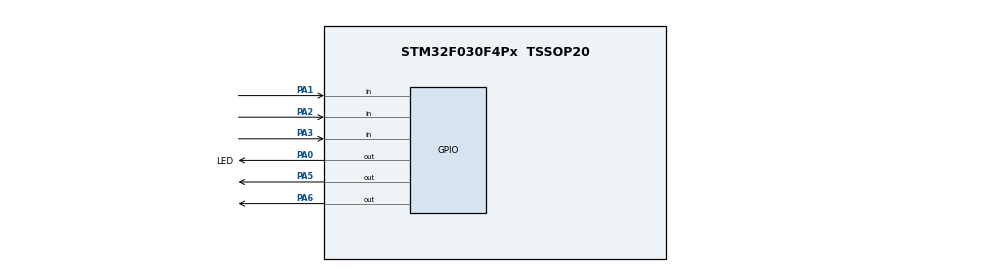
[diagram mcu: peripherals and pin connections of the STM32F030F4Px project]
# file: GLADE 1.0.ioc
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Mcu.Family=STM32F0
Mcu.Name=STM32F030F4Px
Mcu.Package=TSSOP20
NVIC.RTC_IRQn=true\:0\:0\:false\:false\:true\:true
PA0.GPIO_Label=LED
PA0.Signal=GPIO_Output
PA1.GPIO_PuPd=GPIO_NOPULL
PA1.Signal=GPIO_Input
PA13.Mode=Serial_Wire
PA13.Signal=SYS_SWDIO
PA14.Mode=Serial_Wire
PA14.Signal=SYS_SWCLK
PA2.GPIO_PuPd=GPIO_NOPULL
PA2.Signal=GPIO_Input
PA3.GPIO_PuPd=GPIO_NOPULL
PA3.Signal=GPIO_Input
PA5.GPIO_ModeDefaultOutputPP=GPIO_MODE_OUTPUT_OD
PA5.GPIO_PuPd=GPIO_PULLUP
PA5.PinState=GPIO_PIN_SET
PA5.Signal=GPIO_Output
PA6.GPIO_ModeDefaultOutputPP=GPIO_MODE_OUTPUT_OD
PA6.GPIO_PuPd=GPIO_PULLUP
PA6.PinState=GPIO_PIN_SET
PA6.Signal=GPIO_Output
ProjectManager.HeapSize=0x200
ProjectManager.StackSize=0x400
ProjectManager.TargetToolchain=MDK-ARM V5
RCC.VDD_VALUE=2.4
RTC.Alarm=RTC_ALARM_A
VP_RTC_VS_RTC_Activate.Mode=RTC_Enabled
VP_RTC_VS_RTC_Alarm_A_Intern.Mode=Alarm A
VP_RTC_VS_RTC_Calendar.Mode=RTC_Calendar
board=custom

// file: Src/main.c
/* USER CODE BEGIN Header */
/**
  ******************************************************************************
  * @file           : main.c
  * @brief          : Main program body
  ******************************************************************************
  ** This notice applies to any and all portions of this file
  * that are not between comment pairs USER CODE BEGIN and
  * USER CODE END. Other portions of this file, whether
  * inserted by the user or by software development tools
  * are owned by their respective copyright owners.
  *
  * COPYRIGHT(c) 2019 STMicroelectronics
  *
  * Redistribution and use in source and binary forms, with or without modification,
  * are permitted provided that the following conditions are met:
  *   1. Redistributions of source code must retain the above copyright notice,
  *      this list of conditions and the following disclaimer.
  *   2. Redistributions in binary form must reproduce the above copyright notice,
  *      this list of conditions and the following disclaimer in the documentation
  *      and/or other materials provided with the distribution.
  *   3. Neither the name of STMicroelectronics nor the names of its contributors
  *      may be used to endorse or promote products derived from this software
  *      without specific prior written permission.
  *
  * THIS SOFTWARE IS PROVIDED BY THE COPYRIGHT HOLDERS AND CONTRIBUTORS "AS IS"
  * AND ANY EXPRESS OR IMPLIED WARRANTIES, INCLUDING, BUT NOT LIMITED TO, THE
  * IMPLIED WARRANTIES OF MERCHANTABILITY AND FITNESS FOR A PARTICULAR PURPOSE ARE
  * DISCLAIMED. IN NO EVENT SHALL THE COPYRIGHT HOLDER OR CONTRIBUTORS BE LIABLE
  * FOR ANY DIRECT, INDIRECT, INCIDENTAL, SPECIAL, EXEMPLARY, OR CONSEQUENTIAL
  * DAMAGES (INCLUDING, BUT NOT LIMITED TO, PROCUREMENT OF SUBSTITUTE GOODS OR
  * SERVICES; LOSS OF USE, DATA, OR PROFITS; OR BUSINESS INTERRUPTION) HOWEVER
  * CAUSED AND ON ANY THEORY OF LIABILITY, WHETHER IN CONTRACT, STRICT LIABILITY,
  * OR TORT (INCLUDING NEGLIGENCE OR OTHERWISE) ARISING IN ANY WAY OUT OF THE USE
  * OF THIS SOFTWARE, EVEN IF ADVISED OF THE POSSIBILITY OF SUCH DAMAGE.
  *
  ******************************************************************************
  */
/* USER CODE END Header */

#include "main.h"

RTC_HandleTypeDef hrtc;

/* USER CODE BEGIN PV */
unsigned int wakeUpCounter = 1;
unsigned int wakeUp = 0;
unsigned char next_second = 0;
/* USER CODE END PV */

void SystemClock_Config(void);
static void MX_GPIO_Init(void);
static void MX_RTC_Init(void);

/* USER CODE BEGIN 0 */
void HAL_RTC_AlarmAEventCallback(RTC_HandleTypeDef *hrtc)
{
	  wakeUpCounter++;
}
/* USER CODE END 0 */

int main(void)
{

  /* MCU Configuration--------------------------------------------------------*/

  /* Reset of all peripherals, Initializes the Flash interface and the Systick. */
  HAL_Init();

  /* Configure the system clock */
  SystemClock_Config();

  /* Initialize all configured peripherals */
  MX_GPIO_Init();
  MX_RTC_Init();
  /* USER CODE BEGIN 2 */
	__HAL_RTC_ALARM_ENABLE_IT(&hrtc, RTC_IT_ALRA);

	//-------Download to MCU in SLEEP times----------
	//-----------------------------------------------
	HAL_GPIO_WritePin(GPIOA, LED_Pin, GPIO_PIN_SET);
	HAL_Delay(5000);
	HAL_GPIO_WritePin(GPIOA, LED_Pin, GPIO_PIN_RESET);
	//-------------------------------------------------
  /* USER CODE END 2 */

  /* Infinite loop */
  /* USER CODE BEGIN WHILE */
  while (1)
  {
		if(wakeUpCounter>=1)
		{
			HAL_GPIO_WritePin(GPIOA, GPIO_PIN_5, GPIO_PIN_RESET); //On 1-2 (+ -)U
			HAL_GPIO_WritePin(GPIOA, LED_Pin, GPIO_PIN_SET);
			HAL_Delay(600);
			HAL_GPIO_WritePin(GPIOA, GPIO_PIN_5, GPIO_PIN_SET);		//Off
			HAL_GPIO_WritePin(GPIOA, GPIO_PIN_6, GPIO_PIN_SET); 	//Off
			HAL_Delay(50);
			HAL_GPIO_WritePin(GPIOA, GPIO_PIN_6, GPIO_PIN_RESET); //On 2-1 (- +)U
			HAL_Delay(230);
			HAL_GPIO_WritePin(GPIOA, GPIO_PIN_5, GPIO_PIN_SET);		//Off
			HAL_GPIO_WritePin(GPIOA, GPIO_PIN_6, GPIO_PIN_SET);		//Off
			HAL_Delay(5);
			HAL_GPIO_WritePin(GPIOA, LED_Pin, GPIO_PIN_RESET);

			wakeUp++;
			wakeUpCounter=0;
			MX_RTC_Init();

			__HAL_PWR_CLEAR_FLAG(PWR_FLAG_WU);
			HAL_PWR_EnterSTANDBYMode();        //Sleep

		}

    /* USER CODE END WHILE */

  }
}

void SystemClock_Config(void)
{
  RCC_OscInitTypeDef RCC_OscInitStruct = {0};
  RCC_ClkInitTypeDef RCC_ClkInitStruct = {0};
  RCC_PeriphCLKInitTypeDef PeriphClkInit = {0};

  /**Initializes the CPU, AHB and APB busses clocks
  */
  RCC_OscInitStruct.OscillatorType = RCC_OSCILLATORTYPE_HSI|RCC_OSCILLATORTYPE_LSI;
  RCC_OscInitStruct.HSIState = RCC_HSI_ON;
  RCC_OscInitStruct.HSICalibrationValue = RCC_HSICALIBRATION_DEFAULT;
  RCC_OscInitStruct.LSIState = RCC_LSI_ON;
  RCC_OscInitStruct.PLL.PLLState = RCC_PLL_NONE;
  if (HAL_RCC_OscConfig(&RCC_OscInitStruct) != HAL_OK)
  {
    Error_Handler();
  }
  /**Initializes the CPU, AHB and APB busses clocks
  */
  RCC_ClkInitStruct.ClockType = RCC_CLOCKTYPE_HCLK|RCC_CLOCKTYPE_SYSCLK
                              |RCC_CLOCKTYPE_PCLK1;
  RCC_ClkInitStruct.SYSCLKSource = RCC_SYSCLKSOURCE_HSI;
  RCC_ClkInitStruct.AHBCLKDivider = RCC_SYSCLK_DIV1;
  RCC_ClkInitStruct.APB1CLKDivider = RCC_HCLK_DIV1;

  if (HAL_RCC_ClockConfig(&RCC_ClkInitStruct, FLASH_LATENCY_0) != HAL_OK)
  {
    Error_Handler();
  }
  PeriphClkInit.PeriphClockSelection = RCC_PERIPHCLK_RTC;
  PeriphClkInit.RTCClockSelection = RCC_RTCCLKSOURCE_LSI;
  if (HAL_RCCEx_PeriphCLKConfig(&PeriphClkInit) != HAL_OK)
  {
    Error_Handler();
  }
}

static void MX_RTC_Init(void)
{

  RTC_TimeTypeDef sTime = {0};
  RTC_DateTypeDef sDate = {0};
  RTC_AlarmTypeDef sAlarm = {0};

  /**Initialize RTC Only
  */
  hrtc.Instance = RTC;
  hrtc.Init.HourFormat = RTC_HOURFORMAT_24;
  hrtc.Init.AsynchPrediv = 127;
  hrtc.Init.SynchPrediv = 255;
  hrtc.Init.OutPut = RTC_OUTPUT_DISABLE;
  hrtc.Init.OutPutPolarity = RTC_OUTPUT_POLARITY_HIGH;
  hrtc.Init.OutPutType = RTC_OUTPUT_TYPE_OPENDRAIN;
  if (HAL_RTC_Init(&hrtc) != HAL_OK)
  {
    Error_Handler();
  }

  /**Initialize RTC and set the Time and Date
  */
  sTime.Hours = 0x0;
  sTime.Minutes = 0x0;
  sTime.Seconds = 0x0;
  sTime.DayLightSaving = RTC_DAYLIGHTSAVING_NONE;
  sTime.StoreOperation = RTC_STOREOPERATION_RESET;
  if (HAL_RTC_SetTime(&hrtc, &sTime, RTC_FORMAT_BCD) != HAL_OK)
  {
    Error_Handler();
  }
  sDate.WeekDay = RTC_WEEKDAY_MONDAY;
  sDate.Month = RTC_MONTH_JANUARY;
  sDate.Date = 0x1;
  sDate.Year = 0x0;

  if (HAL_RTC_SetDate(&hrtc, &sDate, RTC_FORMAT_BCD) != HAL_OK)
  {
    Error_Handler();
  }
  /**Enable the Alarm A
  */
  sAlarm.AlarmTime.Hours = 0x03;
  sAlarm.AlarmTime.Minutes = 0x00;
  sAlarm.AlarmTime.Seconds = 0x00;
  sAlarm.AlarmTime.SubSeconds = 0x0;
  sAlarm.AlarmTime.DayLightSaving = RTC_DAYLIGHTSAVING_NONE;
  sAlarm.AlarmTime.StoreOperation = RTC_STOREOPERATION_RESET;
  sAlarm.AlarmMask = RTC_ALARMMASK_NONE;
  sAlarm.AlarmSubSecondMask = RTC_ALARMSUBSECONDMASK_ALL;
  sAlarm.AlarmDateWeekDaySel = RTC_ALARMDATEWEEKDAYSEL_DATE;
  sAlarm.AlarmDateWeekDay = 0x1;
  sAlarm.Alarm = RTC_ALARM_A;
  if (HAL_RTC_SetAlarm_IT(&hrtc, &sAlarm, RTC_FORMAT_BCD) != HAL_OK)
  {
    Error_Handler();
  }

}

static void MX_GPIO_Init(void)
{
  GPIO_InitTypeDef GPIO_InitStruct = {0};

  /* GPIO Ports Clock Enable */
  __HAL_RCC_GPIOA_CLK_ENABLE();

  /*Configure GPIO pin Output Level */
  HAL_GPIO_WritePin(LED_GPIO_Port, LED_Pin, GPIO_PIN_RESET);

  /*Configure GPIO pin Output Level */
  HAL_GPIO_WritePin(GPIOA, GPIO_PIN_5|GPIO_PIN_6, GPIO_PIN_SET);

  /*Configure GPIO pin : LED_Pin */
  GPIO_InitStruct.Pin = LED_Pin;
  GPIO_InitStruct.Mode = GPIO_MODE_OUTPUT_PP;
  GPIO_InitStruct.Pull = GPIO_NOPULL;
  GPIO_InitStruct.Speed = GPIO_SPEED_FREQ_LOW;
  HAL_GPIO_Init(LED_GPIO_Port, &GPIO_InitStruct);

  /*Configure GPIO pins : PA1 PA2 PA3 */
  GPIO_InitStruct.Pin = GPIO_PIN_1|GPIO_PIN_2|GPIO_PIN_3;
  GPIO_InitStruct.Mode = GPIO_MODE_INPUT;
  GPIO_InitStruct.Pull = GPIO_NOPULL;
  HAL_GPIO_Init(GPIOA, &GPIO_InitStruct);

  /*Configure GPIO pins : PA5 PA6 */
  GPIO_InitStruct.Pin = GPIO_PIN_5|GPIO_PIN_6;
  GPIO_InitStruct.Mode = GPIO_MODE_OUTPUT_OD;
  GPIO_InitStruct.Pull = GPIO_PULLUP;
  GPIO_InitStruct.Speed = GPIO_SPEED_FREQ_LOW;
  HAL_GPIO_Init(GPIOA, &GPIO_InitStruct);

}

void Error_Handler(void)
{
}

/************************ (C) COPYRIGHT STMicroelectronics *****END OF FILE****/
